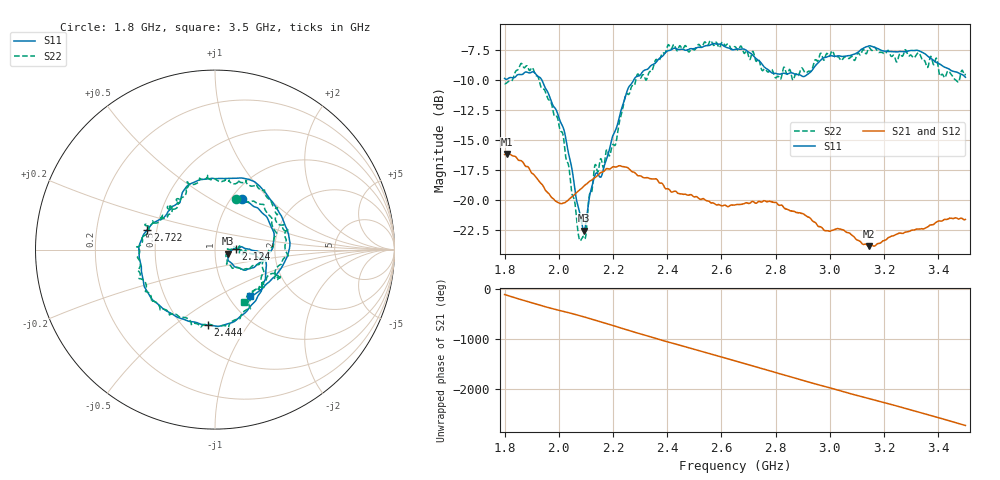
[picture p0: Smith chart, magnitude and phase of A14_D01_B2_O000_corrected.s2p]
! Created with skrf 1.9.0 (http://scikit-rf.org).
# Hz S RI R 50.0
!freq ReS11 ImS11 ReS21 ImS21 ReS12 ImS12 ReS22 ImS22
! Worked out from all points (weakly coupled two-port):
!   1601 points, 1.8 GHz to 3.5 GHz, reference 50 ohm
!   highest |S21| = -16.16 dB at 1.808 GHz (marker M1); lowest = -23.8 dB at 3.144 GHz (marker M2)
!   lowest |S11| = -22.5 dB at 2.093 GHz (marker M3), VSWR 1.16, Z = 57.6 - j2.6 ohm
!   |S11| at or under -10 dB: 1.937 GHz to 2.277 GHz (340 MHz wide, 16.1 % of centre)
!   |S22| runs from -23.4 to -6.7 dB; largest |S21 - S12| = 0.0029
!   S11 on the Smith chart (normalised r, x): 1.8 GHz: 1.12, +0.71; 2.124 GHz: 1.26, +0.01; 2.444 GHz: 0.65, -0.67; 2.722 GHz: 0.44, +0.11; 3.5 GHz: 1.26, -0.72
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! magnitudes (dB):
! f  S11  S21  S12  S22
! 1.8 GHz  -9.9  -16.2  -16.2  -10.3
! 1.808 GHz  -10.0  -16.2  -16.2  -10.2
! 1.901 GHz  -9.4  -17.8  -17.7  -9.0
! 1.968 GHz  -11.5  -19.6  -19.6  -11.8
! 2.02 GHz  -14.2  -20.2  -20.2  -15.3
! 2.084 GHz  -21.8  -19.0  -19.0  -23.2
! 2.093 GHz  -22.5  -18.8  -18.9  -23.1
! 2.124 GHz  -18.7  -18.3  -18.3  -18.9
! 2.159 GHz  -17.9  -17.7  -17.6  -16.8
! 2.208 GHz  -14.2  -17.3  -17.2  -15.4
! 2.258 GHz  -10.6  -17.4  -17.4  -11.2
! 2.367 GHz  -8.3  -18.5  -18.4  -8.4
! 2.444 GHz  -7.5  -19.4  -19.5  -7.2
! 2.65 GHz  -7.5  -20.4  -20.4  -7.2
! 2.722 GHz  -8.1  -20.2  -20.1  -8.1
! 2.81 GHz  -9.5  -20.4  -20.3  -9.7
! 2.934 GHz  -9.2  -21.7  -21.7  -9.2
! 3.144 GHz  -7.2  -23.8  -23.7  -7.3
! 3.217 GHz  -7.7  -23.1  -23.1  -7.6
! 3.328 GHz  -7.6  -22.4  -22.4  -7.8
! 3.415 GHz  -8.8  -21.7  -21.7  -9.5
! 3.5 GHz  -9.8  -21.6  -21.6  -9.5
